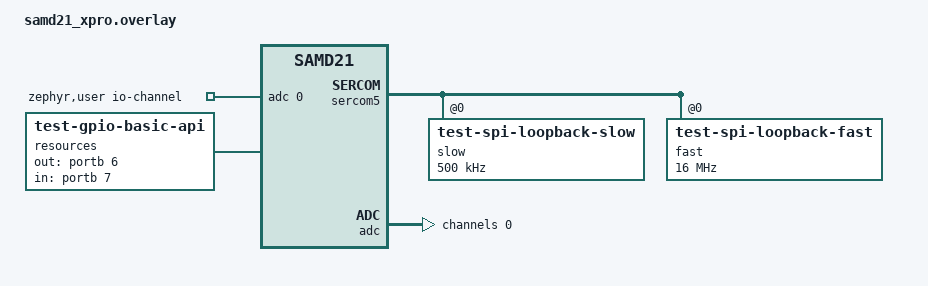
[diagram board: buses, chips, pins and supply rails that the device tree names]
/*
 * Copyright (c) 2022 Kumar Gala <galak@kernel.org>
 *
 * SPDX-License-Identifier: Apache-2.0
 */

tst_dma0: &dmac {
	status = "okay";
};

&sercom5 {
	dipo = <0>;
	dopo = <0>;
	slow@0 {
		compatible = "test-spi-loopback-slow";
		reg = <0>;
		spi-max-frequency = <500000>;
	};
	fast@0 {
		compatible = "test-spi-loopback-fast";
		reg = <0>;
		spi-max-frequency = <16000000>;
	};
};

#define ADC_INPUTCTRL_MUXPOS_SCALEDIOVCC_Val 0x1BU

/ {
	zephyr,user {
		io-channels = <&adc 0>;
	};
};

&adc {
	#address-cells = <1>;
	#size-cells = <0>;
	channel@0 {
		reg = <0>;
		zephyr,gain = "ADC_GAIN_1";
		zephyr,reference = "ADC_REF_INTERNAL";
		zephyr,acquisition-time = <ADC_ACQ_TIME_DEFAULT>;
		zephyr,resolution = <12>;
		zephyr,input-positive = <ADC_INPUTCTRL_MUXPOS_SCALEDIOVCC_Val>;
	};
};

/ {
	resources {
		compatible = "test-gpio-basic-api";
		out-gpios = <&portb 6 0>;
		in-gpios = <&portb 7 0>;
	};
};

&dmac {
	status = "okay";
};

&sercom0 {
	status = "disabled";
};

dut: &sercom1 {
	rxpo = <0>;
	txpo = <0>;
	dmas = <&dmac 0 3>, <&dmac 1 4>;
	dma-names = "rx", "tx";
};

&sercom3 {
	dmas = <&dmac 10 7>, <&dmac 11 8>;
	dma-names = "rx", "tx";
};
